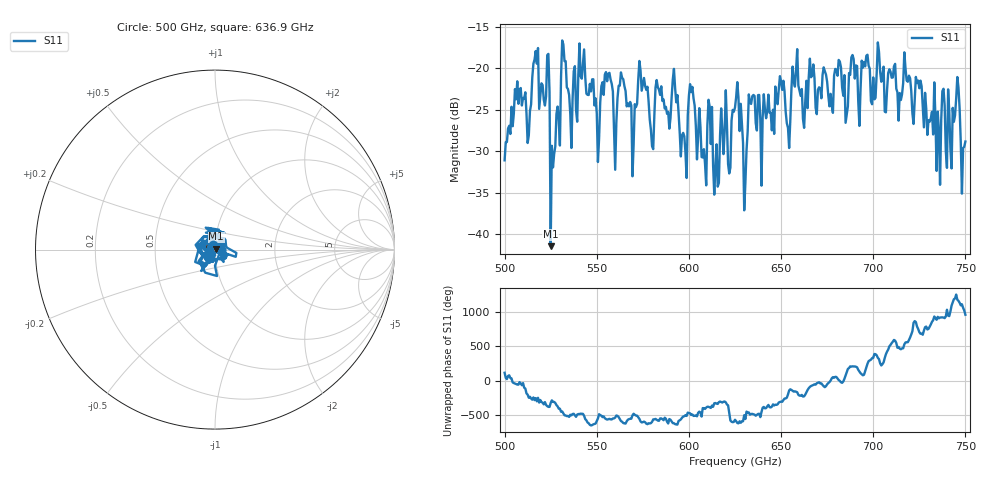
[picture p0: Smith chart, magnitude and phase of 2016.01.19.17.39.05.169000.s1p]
!Created with skrf (http://scikit-rf.org).
# GHz S RI R 50.0
!freq ReS11 ImS11
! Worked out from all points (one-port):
!   401 points, 500 GHz to 750 GHz, reference 50 ohm
!   lowest |S11| = -41.4 dB at 525 GHz (marker M1), VSWR 1.02, Z = 50.7 + j0.529 ohm
!   |S11| at or under -10 dB: start of sweep to end of sweep
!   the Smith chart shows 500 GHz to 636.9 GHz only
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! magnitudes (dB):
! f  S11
! 500 GHz  -31.1
! 506.9 GHz  -21.6
! 513.1 GHz  -28.1
! 516.9 GHz  -17.9
! 523.1 GHz  -18.4
! 525 GHz  -41.4
! 526.2 GHz  -31.9
! 531.2 GHz  -16.6
! 535.6 GHz  -25.5
! 541.9 GHz  -21.2
! 550 GHz  -25.4
! 562.5 GHz  -22.1
! 568.8 GHz  -24.5
! 573.8 GHz  -20.2
! 580 GHz  -29.4
! 593.8 GHz  -23.2
! 597.5 GHz  -28.2
! 601.9 GHz  -22.2
! 608.1 GHz  -29.7
! 611.2 GHz  -24.6
! 615 GHz  -29.2
! 625 GHz  -24.7
! 630.6 GHz  -33.8
! 633.8 GHz  -24.3
! 656.2 GHz  -19.8
! 687.5 GHz  -20.8
! 718.8 GHz  -21.6
! 750 GHz  -28.8
